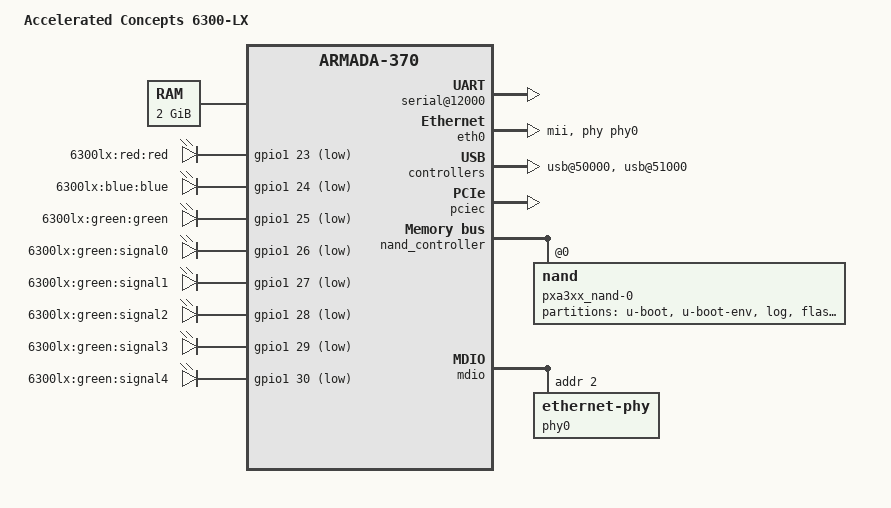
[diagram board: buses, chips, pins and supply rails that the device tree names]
/*
 * Device Tree file for AcceleratedConcepts 6300-LX
 *
 * Greg Ungerer <greg.ungerer@accelerated.com>
 * David McCullough <david.mccullough@accelerated.com>
 *
 * This file is licensed under the terms of the GNU General Public
 * License version 2.  This program is licensed "as is" without any
 * warranty of any kind, whether express or implied.
 */

/dts-v1/;
#include "armada-370.dtsi"

/ {
	model = "Accelerated Concepts 6300-LX";
	compatible = "accelerated,6300lx", "marvell,armada370", "marvell,armada-370-xp";

	chosen {
		bootargs = "console=ttyS0,115200";
	};

	memory@0 {
		device_type = "memory";
		reg = <0x00000000 0x80000000>; /* 2 GB */
	};

	soc {
		ranges = <MBUS_ID(0xf0, 0x01) 0 0xd0000000 0x100000
			  MBUS_ID(0x01, 0xe0) 0 0xfff00000 0x100000
			  MBUS_ID(0x09, 0x01) 0 0xf1100000 0x10000>;

		internal-regs {
			serial@12000 {
				clock-frequency = <200000000>;
				status = "okay";
			};
			timer@20300 {
				clock-frequency = <600000000>;
				status = "okay";
			};

			gpio_leds {
				compatible = "gpio-leds";
				pinctrl-names = "default";
				pinctrl-0 = <&red_led_pin &blue_led_pin &green_led_pin &signal0_led_pin &signal1_led_pin &signal2_led_pin &signal3_led_pin &signal4_led_pin>;

				red_led {
					label = "6300lx:red:red";
					gpios = <&gpio1 23 1>;
					linux,default-trigger = "red";
				};

				blue_led {
					label = "6300lx:blue:blue";
					gpios = <&gpio1 24 1>;
					linux,default-trigger = "blue";
				};

				green_led {
					label = "6300lx:green:green";
					gpios = <&gpio1 25 1>;
					linux,default-trigger = "green";
				};

				green_signal0_led {
					label = "6300lx:green:signal0";
					gpios = <&gpio1 26 1>;
					linux,default-trigger = "signal0";
				};

				green_signal1_led {
					label = "6300lx:green:signal1";
					gpios = <&gpio1 27 1>;
					linux,default-trigger = "signal1";
				};

				green_signal2_led {
					label = "6300lx:green:signal2";
					gpios = <&gpio1 28 1>;
					linux,default-trigger = "signal2";
				};

				green_signal3_led {
					label = "6300lx:green:signal3";
					gpios = <&gpio1 29 1>;
					linux,default-trigger = "signal3";
				};

				green_signal4_led {
					label = "6300lx:green:signal4";
					gpios = <&gpio1 30 1>;
					linux,default-trigger = "signal4";
				};
			};

			gpio_usb_enables {
				pinctrl-names = "default";
				pinctrl-0 = <&usb_power_pin &usb_overcurrent_pin>;
			};

			eth0: ethernet@70000 {
				status = "okay";
				phy = <&phy0>;
				phy-mode = "mii";
			};

			crypto@90000 {
				status = "okay";
			};

			usb@50000 {
				status = "okay";
			};

			usb@51000 {
				status = "okay";
			};
		};
	};
};

&pinctrl {
	red_led_pin: red-led-pin {
		marvell,pins = "mpp55";
		marvell,function = "gpo";
	};

	blue_led_pin: blue-led-pin {
		marvell,pins = "mpp56";
		marvell,function = "gpo";
	};

	green_led_pin: green-led-pin {
		marvell,pins = "mpp57";
		marvell,function = "gpo";
	};

	signal0_led_pin: signal0-led-pin {
		marvell,pins = "mpp58";
		marvell,function = "gpo";
	};

	signal1_led_pin: signal1-led-pin {
		marvell,pins = "mpp59";
		marvell,function = "gpo";
	};

	signal2_led_pin: signal2-led-pin {
		marvell,pins = "mpp60";
		marvell,function = "gpo";
	};

	signal3_led_pin: signal3-led-pin {
		marvell,pins = "mpp61";
		marvell,function = "gpo";
	};

	signal4_led_pin: signal3-led-pin {
		marvell,pins = "mpp62";
		marvell,function = "gpo";
	};

	usb_overcurrent_pin: usb-overcurrent-pin {
		marvell,pins = "mpp4";
		marvell,function = "gpo";
	};

	usb_power_pin: usb-power-pin {
		marvell,pins = "mpp31";
		marvell,function = "gpo";
	};
};

&pciec {
	status = "okay";

	/* Internal mini-PCIe connector */
	pcie@1,0 {
		/* Port 0, Lane 0 */
		status = "okay";
	};

	pcie@2,0 {
		/* Port 1, Lane 0 */
		status = "okay";
	};
};

&nand_controller {
	status = "okay";

	nand@0 {
		reg = <0>;
		label = "pxa3xx_nand-0";
		nand-rb = <0>;
		marvell,nand-keep-config;
		nand-on-flash-bbt;
		nand-ecc-strength = <4>;
		nand-ecc-step-size = <512>;

		partitions {
			compatible = "fixed-partitions";
			#address-cells = <1>;
			#size-cells = <1>;

			partition@0 {
				label="u-boot";
				reg = <0x00000000 0x00200000>;
			};
			partition@1 {
				label="u-boot-env";
				reg = <0x00200000 0x00100000>;
			};
			partition@2 {
				label="log";
				reg = <0x00300000 0x00200000>;
			};
			partition@3 {
				label="flash";
				reg = <0x00500000 0>;
			};
			partition@4 {
				label="all";
				reg = <0x00000000 0>;
			};
		};
	};
};

&mdio {
	pinctrl-0 = <&mdio_pins>;
	pinctrl-names = "default";
	phy0: ethernet-phy@0 {
		reg = <2>;
		unlink-power-down;
	};
};
